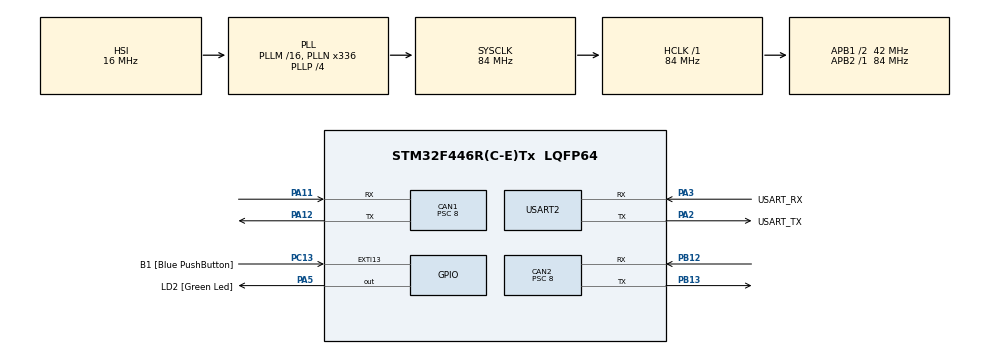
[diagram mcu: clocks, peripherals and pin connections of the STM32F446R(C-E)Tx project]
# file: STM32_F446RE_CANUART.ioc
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CAN1.BS1=CAN_BS1_16TQ
CAN1.BS2=CAN_BS2_4TQ
CAN1.CalculateBaudRate=250000
CAN1.CalculateTimeBit=4000
CAN1.CalculateTimeQuantum=190.47619047619048
CAN1.Prescaler=8
CAN1.SJW=CAN_SJW_4TQ
CAN2.BS1=CAN_BS1_16TQ
CAN2.BS2=CAN_BS2_4TQ
CAN2.CalculateBaudRate=250000
CAN2.CalculateTimeBit=4000
CAN2.CalculateTimeQuantum=190.47619047619048
CAN2.Prescaler=8
CAN2.SJW=CAN_SJW_4TQ
Dma.Request0=USART2_RX
Dma.USART2_RX.0.Direction=DMA_PERIPH_TO_MEMORY
Dma.USART2_RX.0.FIFOMode=DMA_FIFOMODE_DISABLE
Dma.USART2_RX.0.Instance=DMA1_Stream5
Dma.USART2_RX.0.MemDataAlignment=DMA_MDATAALIGN_BYTE
Dma.USART2_RX.0.MemInc=DMA_MINC_ENABLE
Dma.USART2_RX.0.Mode=DMA_NORMAL
Dma.USART2_RX.0.PeriphDataAlignment=DMA_PDATAALIGN_BYTE
Dma.USART2_RX.0.PeriphInc=DMA_PINC_DISABLE
Dma.USART2_RX.0.Priority=DMA_PRIORITY_MEDIUM
Mcu.Family=STM32F4
Mcu.Name=STM32F446R(C-E)Tx
Mcu.Package=LQFP64
NVIC.CAN1_RX0_IRQn=true\:0\:0\:false\:false\:true\:true\:true\:true
NVIC.CAN1_TX_IRQn=true\:0\:0\:false\:false\:true\:true\:true\:true
NVIC.CAN2_RX0_IRQn=true\:0\:0\:false\:false\:true\:true\:true\:true
NVIC.CAN2_TX_IRQn=true\:0\:0\:false\:false\:true\:true\:true\:true
NVIC.DMA1_Stream5_IRQn=true\:0\:0\:false\:false\:true\:false\:true\:true
NVIC.PriorityGroup=NVIC_PRIORITYGROUP_0
NVIC.USART2_IRQn=true\:0\:0\:false\:false\:true\:true\:true\:true
PA11.Mode=CAN_Activate
PA11.Signal=CAN1_RX
PA12.GPIO_PuPd=GPIO_PULLUP
PA12.Mode=CAN_Activate
PA12.Signal=CAN1_TX
PA13.GPIO_Label=TMS
PA13.Mode=Serial_Wire
PA13.Signal=SYS_JTMS-SWDIO
PA14.GPIO_Label=TCK
PA14.Mode=Serial_Wire
PA14.Signal=SYS_JTCK-SWCLK
PA2.GPIO_Label=USART_TX
PA2.Mode=Asynchronous
PA2.Signal=USART2_TX
PA3.GPIO_Label=USART_RX
PA3.Mode=Asynchronous
PA3.Signal=USART2_RX
PA5.GPIO_Label=LD2 [Green Led]
PA5.Signal=GPIO_Output
PB12.Mode=CAN_Activate
PB12.Signal=CAN2_RX
PB13.GPIO_PuPd=GPIO_PULLUP
PB13.Mode=CAN_Activate
PB13.Signal=CAN2_TX
PB3.GPIO_Label=SWO
PB3.Signal=SYS_JTDO-SWO
PC13.GPIO_Label=B1 [Blue PushButton]
PC13.GPIO_ModeDefaultEXTI=GPIO_MODE_IT_FALLING
PC13.Signal=GPXTI13
PC14-OSC32_IN.Mode=LSE-External-Oscillator
PC14-OSC32_IN.Signal=RCC_OSC32_IN
PC15-OSC32_OUT.Mode=LSE-External-Oscillator
PC15-OSC32_OUT.Signal=RCC_OSC32_OUT
PH0-OSC_IN.Mode=HSE-External-Oscillator
PH0-OSC_IN.Signal=RCC_OSC_IN
PH1-OSC_OUT.Mode=HSE-External-Oscillator
PH1-OSC_OUT.Signal=RCC_OSC_OUT
ProjectManager.HeapSize=0x200
ProjectManager.StackSize=0x400
ProjectManager.TargetToolchain=STM32CubeIDE
RCC.48MHZClocksFreq_Value=84000000
RCC.AHBFreq_Value=84000000
RCC.APB1CLKDivider=RCC_HCLK_DIV2
RCC.APB1Freq_Value=42000000
RCC.APB1TimFreq_Value=84000000
RCC.APB2Freq_Value=84000000
RCC.APB2TimFreq_Value=84000000
RCC.CortexFreq_Value=84000000
RCC.FLatency-AdvancedSettings=FLASH_LATENCY_2
RCC.HCLKFreq_Value=84000000
RCC.HSE_VALUE=8000000
RCC.HSI_VALUE=16000000
RCC.PLLN=336
RCC.PLLP=RCC_PLLP_DIV4
RCC.SYSCLKFreq_VALUE=84000000
RCC.SYSCLKSource=RCC_SYSCLKSOURCE_PLLCLK
RCC.USBFreq_Value=168000000
RCC.VCOOutputFreq_Value=336000000
USART2.VirtualMode=VM_ASYNC
board=NUCLEO-F446RE

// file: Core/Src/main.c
/* USER CODE BEGIN Header */
/**
  ******************************************************************************
  * @file           : main.c
  * @brief          : Main program body
  ******************************************************************************
  * @attention
  *
  * Copyright (c) 2022 STMicroelectronics.
  * All rights reserved.
  *
  * This software is licensed under terms that can be found in the LICENSE file
  * in the root directory of this software component.
  * If no LICENSE file comes with this software, it is provided AS-IS.
  *
  ******************************************************************************
  */
/* USER CODE END Header */
#include "main.h"

 CAN_HandleTypeDef hcan1;
CAN_HandleTypeDef hcan2;

UART_HandleTypeDef huart2;
DMA_HandleTypeDef hdma_usart2_rx;

/* USER CODE BEGIN PV */
CAN_FilterTypeDef sFilterConfig1; //フィルタ
CAN_FilterTypeDef sFilterConfig2; //フィルタ
CAN_TxHeaderTypeDef TxHeader; //Txのヘッダ
CAN_RxHeaderTypeDef RxHeader; //Rxのヘッダ
uint8_t TxData[8]; //CANにて送るデータ
uint8_t RxData[8]; //CANにて受け取ったデータ
uint32_t TxMailbox;
uint8_t can_id_list[] = {0x00, 0x01, 0x02, 0x03, 0x04, 0x05, 0x06, 0x07, 0x08, 0x09, 0x0A, 0x0B, 0x0C}; //odrive axis node id
uint8_t can_separator=0x06;//0x08以下がcan1,
uint8_t can_number =0;//can1ならflagを0, can2ならflagを1
uint8_t can_id = 0;
//uint8_t control_mode = 0x00C;//位置制御モード
//uint8_t control_mode = 0x009;//エンコーダ読み込み
//uint8_t control_mode = 0x017;//電圧取得
uint8_t cmd_data = 0x00;
uint8_t get_can_flag = 0; //canを受信したかどうかのflag

//uart関連
uint8_t UART1_Data[6];
uint8_t get_uart_flag = 0;
/* USER CODE END PV */

void SystemClock_Config(void);
static void MX_GPIO_Init(void);
static void MX_USART2_UART_Init(void);
static void MX_DMA_Init(void);
static void MX_CAN2_Init(void);
static void MX_CAN1_Init(void);

int main(void)
{

  /* MCU Configuration--------------------------------------------------------*/

  /* Reset of all peripherals, Initializes the Flash interface and the Systick. */
  HAL_Init();

  /* Configure the system clock */
  SystemClock_Config();

  /* Initialize all configured peripherals */
  MX_GPIO_Init();
  MX_USART2_UART_Init();
  MX_DMA_Init();
  MX_CAN2_Init();
  MX_CAN1_Init();
  /* USER CODE BEGIN 2 */
  //CANの設定
    //can1のフィルタの設定
    sFilterConfig1.FilterBank = 0;
    sFilterConfig1.FilterMode = CAN_FILTERMODE_IDMASK;
    sFilterConfig1.FilterScale = CAN_FILTERSCALE_32BIT;
    sFilterConfig1.FilterIdHigh = 0x0000;
    sFilterConfig1.FilterIdLow = 0x0000;
    sFilterConfig1.FilterMaskIdHigh = 0x0000;
    sFilterConfig1.FilterMaskIdLow = 0x0000;
    sFilterConfig1.FilterFIFOAssignment = CAN_RX_FIFO0;
    sFilterConfig1.FilterActivation=ENABLE;
    sFilterConfig1.SlaveStartFilterBank=14;

    //can2フィルタ
    sFilterConfig2.FilterBank = 14;
    sFilterConfig2.FilterMode = CAN_FILTERMODE_IDMASK;
    sFilterConfig2.FilterScale = CAN_FILTERSCALE_32BIT;
    sFilterConfig2.FilterIdHigh = 0x0000;
    sFilterConfig2.FilterIdLow = 0x0000;
    sFilterConfig2.FilterMaskIdHigh = 0x0000;
    sFilterConfig2.FilterMaskIdLow = 0x0000;
    sFilterConfig2.FilterFIFOAssignment = CAN_RX_FIFO0;
    sFilterConfig2.FilterActivation=ENABLE;
    //sFilterConfig2.SlaveStartFilterBank=27;

    //フィルタをcan1に適用
    if(HAL_CAN_ConfigFilter(&hcan1,&sFilterConfig1) != HAL_OK)
    {
      Error_Handler();
    }
    //フィルタをcan2に適用
    if(HAL_CAN_ConfigFilter(&hcan2,&sFilterConfig2) != HAL_OK)
    {
      Error_Handler();
    }

    //can1をスタート
    if(HAL_CAN_Start(&hcan1)!=HAL_OK)
    {
      Error_Handler();
    }
    //can2をスタート
    if(HAL_CAN_Start(&hcan2)!=HAL_OK)
    {
      Error_Handler();
    }

    //can1の割り込みを許可
    if(HAL_CAN_ActivateNotification(&hcan1,CAN_IT_RX_FIFO0_MSG_PENDING | CAN_IT_TX_MAILBOX_EMPTY) != HAL_OK)
    {
  	Error_Handler();
    }
    //can2の割り込みを許可
    if(HAL_CAN_ActivateNotification(&hcan2,CAN_IT_RX_FIFO0_MSG_PENDING | CAN_IT_TX_MAILBOX_EMPTY) != HAL_OK)
    {
  	Error_Handler();
    }

   //HAL_UART_Receive_DMA(&huart2, UART1_Data, 6);//6文字受信したら割り込み発生させる

  /* USER CODE END 2 */

  /* Infinite loop */
  /* USER CODE BEGIN WHILE */

  while (1)
  {
	  //受信割り込みの開始=6byte受け取ったら次の処理へ
	  	  get_uart_flag=0;
	  	  HAL_UART_Receive_DMA(&huart2, UART1_Data, 6);
	  	  //受信するまで待つ
	  	  while(!get_uart_flag){}

	  	  //can通信の処理
	  	  //todo can通信を二つに対応させる=>UARTがある数より大きい=CAN2へ
	  	  can_id = can_id_list[UART1_Data[0]]; //uartで受け取った値の0~7bit:can_id_listのデータ
	  	  //can_idが0の場合は何もしない処理
	  	  if(can_id == 0){
	  		  continue;
	  	  }
	  	  if(can_id <= can_separator){
	  		  can_number=0;//0;
	  	  }else{
	  		  can_number=1;//1;
	  	  }

	  	  cmd_data = UART1_Data[1];//uartで受け取った値の8~15bit:canのコマンド
	  	  get_can_flag=0; //canデータ受信用のフラグを0に
	  	  switch(cmd_data){

	  	  	  case 0x01://ポジションを送る//位置制御的な感じ
	  	  		  get_can_flag = 1;//canデータを受け取らないので1に
	  	  		  TxHeader.StdId=(can_id << 5) + (0x00C); //can_id, コントロールcmd
	  	  		  TxHeader.RTR = 0;//CAN_RTR_DATA;
	  	  		  TxHeader.IDE = CAN_ID_STD;
	  	  		  TxHeader.DLC = 0x08;
	  	  		  TxHeader.TransmitGlobalTime = DISABLE;
	  	  		  TxData[0] = UART1_Data[2];
	  	  		  TxData[1] = UART1_Data[3];
	  	  		  TxData[2] = UART1_Data[4];
	  	  		  TxData[3] = UART1_Data[5];
	  	  		  TxData[4] = 0;
	  	  		  TxData[5] = 0;
	  	  		  TxData[6] = 0;
	  	  		  TxData[7] = 0;
	  	  		  if(can_number == 1){
	  	  			HAL_CAN_AddTxMessage(&hcan2,&TxHeader,TxData,&TxMailbox);//todo can2への対応
	  	  		  }else{
	  	  			HAL_CAN_AddTxMessage(&hcan1,&TxHeader,TxData,&TxMailbox);//todo can2への対応
	  	  		  }
	  	  		  break;

	  	  	  case 0x02://ポジションを受け取る
	  	  		  TxHeader.StdId=(can_id << 5) + (0x009); //can_id, コントロールcmd
	  	  		  TxHeader.RTR = 2;//CAN_RTR_DATA_;
	  	  		  TxHeader.IDE = CAN_ID_STD;
	  	  		  TxHeader.DLC = 0x08;
	  	  		  TxHeader.TransmitGlobalTime = DISABLE;
	  	  		  TxData[0] = 0;
	  	  		  TxData[1] = 0;
	  	  		  TxData[2] = 0;
	  	  		  TxData[3] = 0;
	  	  		  TxData[4] = 0;
	  	  		  TxData[5] = 0;
	  	  		  TxData[6] = 0;
	  	  		  TxData[7] = 0;
	  	  		  if(can_number == 1){
	  	  			HAL_CAN_AddTxMessage(&hcan2,&TxHeader,TxData,&TxMailbox);//todo can2への対応
	  	  		  }else{
	  	  			HAL_CAN_AddTxMessage(&hcan1,&TxHeader,TxData,&TxMailbox);//todo can2への対応
	  	  		  }
	  	  		  break;

	  	  	  case 0x03://電圧を受け取る
	  	  		  TxHeader.StdId=(can_id << 5) + (0x017); //can_id, コントロールcmd
	  	  		  TxHeader.RTR = 2;//CAN_RTR_DATA;
	  	  		  TxHeader.IDE = CAN_ID_STD;
	  	  		  TxHeader.DLC = 0x08;
	  	  		  TxHeader.TransmitGlobalTime = DISABLE;
	  	  		  TxData[0] = 0;
	  	  		  TxData[1] = 0;
	  	  		  TxData[2] = 0;
	  	  		  TxData[3] = 0;
	  	  		  TxData[4] = 0;
	  	  		  TxData[5] = 0;
	  	  		  TxData[6] = 0;
	  	  		  TxData[7] = 0;
	  	  		  if(can_number == 1){
	  	  			HAL_CAN_AddTxMessage(&hcan2,&TxHeader,TxData,&TxMailbox);//todo can2への対応
	  	  		  }else{
	  	  			HAL_CAN_AddTxMessage(&hcan1,&TxHeader,TxData,&TxMailbox);//todo can2への対応
	  	  		  }
	  	  		  break;

	  	  	  case 0x04: //モードを変更する (0x00:IDLEモード )
	  	  		  get_can_flag = 1;//canデータを受け取らないので1に
	  	  		  TxHeader.StdId=(can_id << 5) + (0x007); //can_id, コントロールcmd
	  	  		  TxHeader.RTR = 2;//CAN_RTR_DATA;
	  	  		  TxHeader.IDE = CAN_ID_STD;
	  	  		  TxHeader.DLC = 0x08;
	  	  		  TxHeader.TransmitGlobalTime = DISABLE;
	  	  		  TxData[0] = UART1_Data[2];
	  	  		  TxData[1] = UART1_Data[3];
	  	  		  TxData[2] = UART1_Data[4];
	  	  		  TxData[3] = UART1_Data[5];
	  	  		  TxData[4] = 0;
	  	  		  TxData[5] = 0;
	  	  		  TxData[6] = 0;
	  	  		  TxData[7] = 0;
	  	  		  if(can_number == 1){
	  	  			HAL_CAN_AddTxMessage(&hcan2,&TxHeader,TxData,&TxMailbox);
	  	  		  }else{
	  	  			HAL_CAN_AddTxMessage(&hcan1,&TxHeader,TxData,&TxMailbox);
	  	  		  }
	  	  		  break;

	  	  	  default:
	  	  		 get_can_flag=1;
	  	  }
	  	  while(!get_can_flag){}
    /* USER CODE END WHILE */

  }
}

void SystemClock_Config(void)
{
  RCC_OscInitTypeDef RCC_OscInitStruct = {0};
  RCC_ClkInitTypeDef RCC_ClkInitStruct = {0};

  /** Configure the main internal regulator output voltage
  */
  __HAL_RCC_PWR_CLK_ENABLE();
  __HAL_PWR_VOLTAGESCALING_CONFIG(PWR_REGULATOR_VOLTAGE_SCALE3);

  /** Initializes the RCC Oscillators according to the specified parameters
  * in the RCC_OscInitTypeDef structure.
  */
  RCC_OscInitStruct.OscillatorType = RCC_OSCILLATORTYPE_HSI;
  RCC_OscInitStruct.HSIState = RCC_HSI_ON;
  RCC_OscInitStruct.HSICalibrationValue = RCC_HSICALIBRATION_DEFAULT;
  RCC_OscInitStruct.PLL.PLLState = RCC_PLL_ON;
  RCC_OscInitStruct.PLL.PLLSource = RCC_PLLSOURCE_HSI;
  RCC_OscInitStruct.PLL.PLLM = 16;
  RCC_OscInitStruct.PLL.PLLN = 336;
  RCC_OscInitStruct.PLL.PLLP = RCC_PLLP_DIV4;
  RCC_OscInitStruct.PLL.PLLQ = 2;
  RCC_OscInitStruct.PLL.PLLR = 2;
  if (HAL_RCC_OscConfig(&RCC_OscInitStruct) != HAL_OK)
  {
    Error_Handler();
  }

  /** Initializes the CPU, AHB and APB buses clocks
  */
  RCC_ClkInitStruct.ClockType = RCC_CLOCKTYPE_HCLK|RCC_CLOCKTYPE_SYSCLK
                              |RCC_CLOCKTYPE_PCLK1|RCC_CLOCKTYPE_PCLK2;
  RCC_ClkInitStruct.SYSCLKSource = RCC_SYSCLKSOURCE_PLLCLK;
  RCC_ClkInitStruct.AHBCLKDivider = RCC_SYSCLK_DIV1;
  RCC_ClkInitStruct.APB1CLKDivider = RCC_HCLK_DIV2;
  RCC_ClkInitStruct.APB2CLKDivider = RCC_HCLK_DIV1;

  if (HAL_RCC_ClockConfig(&RCC_ClkInitStruct, FLASH_LATENCY_2) != HAL_OK)
  {
    Error_Handler();
  }
}

static void MX_CAN1_Init(void)
{

  hcan1.Instance = CAN1;
  hcan1.Init.Prescaler = 8;
  hcan1.Init.Mode = CAN_MODE_NORMAL;
  hcan1.Init.SyncJumpWidth = CAN_SJW_4TQ;
  hcan1.Init.TimeSeg1 = CAN_BS1_16TQ;
  hcan1.Init.TimeSeg2 = CAN_BS2_4TQ;
  hcan1.Init.TimeTriggeredMode = DISABLE;
  hcan1.Init.AutoBusOff = DISABLE;
  hcan1.Init.AutoWakeUp = DISABLE;
  hcan1.Init.AutoRetransmission = DISABLE;
  hcan1.Init.ReceiveFifoLocked = DISABLE;
  hcan1.Init.TransmitFifoPriority = DISABLE;
  if (HAL_CAN_Init(&hcan1) != HAL_OK)
  {
    Error_Handler();
  }

}

static void MX_CAN2_Init(void)
{

  hcan2.Instance = CAN2;
  hcan2.Init.Prescaler = 8;
  hcan2.Init.Mode = CAN_MODE_NORMAL;
  hcan2.Init.SyncJumpWidth = CAN_SJW_4TQ;
  hcan2.Init.TimeSeg1 = CAN_BS1_16TQ;
  hcan2.Init.TimeSeg2 = CAN_BS2_4TQ;
  hcan2.Init.TimeTriggeredMode = DISABLE;
  hcan2.Init.AutoBusOff = DISABLE;
  hcan2.Init.AutoWakeUp = DISABLE;
  hcan2.Init.AutoRetransmission = DISABLE;
  hcan2.Init.ReceiveFifoLocked = DISABLE;
  hcan2.Init.TransmitFifoPriority = DISABLE;
  if (HAL_CAN_Init(&hcan2) != HAL_OK)
  {
    Error_Handler();
  }

}

static void MX_USART2_UART_Init(void)
{

  huart2.Instance = USART2;
  huart2.Init.BaudRate = 115200;
  huart2.Init.WordLength = UART_WORDLENGTH_8B;
  huart2.Init.StopBits = UART_STOPBITS_1;
  huart2.Init.Parity = UART_PARITY_NONE;
  huart2.Init.Mode = UART_MODE_TX_RX;
  huart2.Init.HwFlowCtl = UART_HWCONTROL_NONE;
  huart2.Init.OverSampling = UART_OVERSAMPLING_16;
  if (HAL_UART_Init(&huart2) != HAL_OK)
  {
    Error_Handler();
  }

}

static void MX_DMA_Init(void)
{

  /* DMA controller clock enable */
  __HAL_RCC_DMA1_CLK_ENABLE();

  /* DMA interrupt init */
  /* DMA1_Stream5_IRQn interrupt configuration */
  HAL_NVIC_SetPriority(DMA1_Stream5_IRQn, 0, 0);
  HAL_NVIC_EnableIRQ(DMA1_Stream5_IRQn);

}

static void MX_GPIO_Init(void)
{
  GPIO_InitTypeDef GPIO_InitStruct = {0};

  /* GPIO Ports Clock Enable */
  __HAL_RCC_GPIOC_CLK_ENABLE();
  __HAL_RCC_GPIOH_CLK_ENABLE();
  __HAL_RCC_GPIOA_CLK_ENABLE();
  __HAL_RCC_GPIOB_CLK_ENABLE();

  /*Configure GPIO pin Output Level */
  HAL_GPIO_WritePin(LD2_GPIO_Port, LD2_Pin, GPIO_PIN_RESET);

  /*Configure GPIO pin : B1_Pin */
  GPIO_InitStruct.Pin = B1_Pin;
  GPIO_InitStruct.Mode = GPIO_MODE_IT_FALLING;
  GPIO_InitStruct.Pull = GPIO_NOPULL;
  HAL_GPIO_Init(B1_GPIO_Port, &GPIO_InitStruct);

  /*Configure GPIO pin : LD2_Pin */
  GPIO_InitStruct.Pin = LD2_Pin;
  GPIO_InitStruct.Mode = GPIO_MODE_OUTPUT_PP;
  GPIO_InitStruct.Pull = GPIO_NOPULL;
  GPIO_InitStruct.Speed = GPIO_SPEED_FREQ_LOW;
  HAL_GPIO_Init(LD2_GPIO_Port, &GPIO_InitStruct);

}

/* USER CODE BEGIN 4 */
void HAL_UART_RxCpltCallback(UART_HandleTypeDef*UartHandle)
{
	HAL_UART_Transmit(&huart2,UART1_Data,6,1000);
	get_uart_flag=1;
}

void HAL_CAN_TxMailbox0CompleteCallack(CAN_HandleTypeDef *hcan)
{
	  //HAL_GPIO_WritePin(GPIOB,GPIO_PIN_3,1);
}

//CAN通信の受信割り込み
void HAL_CAN_RxFifo0MsgPendingCallback(CAN_HandleTypeDef *hcan_)
{
	HAL_CAN_GetRxMessage(hcan_,CAN_RX_FIFO0,&RxHeader,RxData);
	HAL_UART_Transmit(&huart2,RxData,sizeof(RxData),1000);//受け取ったデータを送信
	//HAL_UART_Transmit(&huart2,&RxHeader,4);
	get_can_flag=1;
}
/* USER CODE END 4 */

void Error_Handler(void)
{
	 __disable_irq();
	  while (1)
	  {
	  }
}
